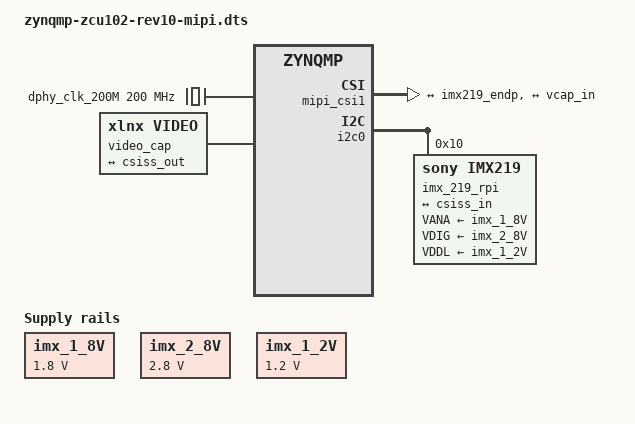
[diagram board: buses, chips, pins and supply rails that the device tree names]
// SPDX-License-Identifier: GPL-2.0
/*
 * Analog Devices GMSL_MIPI
 *
 * hdl_project: <gmsl_mipi/zcu102>
 * board_revision: <>
 *
 * Copyright (C) 2023 Analog Devices Inc.
 */
#include "zynqmp-zcu102-rev1.0.dts"
#include <dt-bindings/interrupt-controller/irq.h>
#include <dt-bindings/gpio/gpio.h>

/ {
	dphy_clk_200M: dphy_clk_200M {
		compatible = "fixed-clock";
		#clock-cells = <0>;
		clock-frequency = <200000000>;
	};


	imx_1_8V: regulator-vref {
		compatible = "regulator-fixed";
		regulator-name = "fixed-supply";
		regulator-min-microvolt = <1800000>;
		regulator-max-microvolt = <1800000>;
		regulator-always-on;
	};

	imx_2_8V: regulator-vref {
		compatible = "regulator-fixed";
		regulator-name = "fixed-supply";
		regulator-min-microvolt = <2800000>;
		regulator-max-microvolt = <2800000>;
		regulator-always-on;
	};

	imx_1_2V: regulator-vref {
		compatible = "regulator-fixed";
		regulator-name = "fixed-supply";
		regulator-min-microvolt = <1200000>;
		regulator-max-microvolt = <1200000>;
		regulator-always-on;
	};

	fpga_axi  {
		interrupt-parent = <&gic>;
		compatible = "simple-bus";
		#address-cells = <0x1>;
		#size-cells = <0x1>;
		ranges = <0 0 0 0xffffffff>;

		axi_sysid_0: axi-sysid-0@85000000 {
			compatible = "adi,axi-sysid-1.00a";
			reg = <0x85000000 0x2000>;
		};

		mipi_csi1: csi@84A00000 {
			compatible = "xlnx,mipi-csi2-rx-subsystem-5.0";
			reg = <0x84A00000 0x2000>;
			interrupts = <0 109 IRQ_TYPE_LEVEL_HIGH>;
			xlnx,csi-pxl-format = <0x2A>;//RAW8 data format
			xlnx,vfb;
			clocks = <&zynqmp_clk 71>, <&zynqmp_clk 71>, <&dphy_clk_200M>;
			clock-names = "lite_aclk", "video_aclk", "dphy_clk_200M";

			ports {
				#address-cells = <1>;
				#size-cells = <0>;

				port@0 {
					reg = <0>;

					csiss_in: endpoint {
						data-lanes = <1 2>;
						remote-endpoint = <&imx219_endp>;
					};
				};

				port@1 {
					reg = <1>;
					
					csiss_out: endpoint {
						remote-endpoint = <&vcap_in>;
					};
				};
			};
		};

		axi_vdma: axi_vdma@84A20000 {
			compatible = "xlnx,axi-vdma-1.00.a";
			#address-cells = <1>;
			#size-cells = <1>;
			#dma-cells = <1>;
			reg = <0x84A20000 0x10000>;
			dma-ranges = <0x00000000 0x84A20000 0x40000000>;
			//dma-ranges = <0x84A20000 0x84B14241 0x000F4240>;
			xlnx,num-fstores = <0x3>;
			xlnx,flush-fsync = <0x3>;
			xlnx,addrwidth = <0x20>;
			clocks = <&zynqmp_clk 71>, <&zynqmp_clk 71>, <&zynqmp_clk 71>, <&zynqmp_clk 71>, <&zynqmp_clk 71>;
			clock-names = "s_axi_lite_aclk","m_axi_s2mm_aclk", "m_axi_mm2s_aclk", "s_axis_s2mm_aclk", "m_axis_mm2s_aclk";
//			clocks = <&zynqmp_clk 71>, <&zynqmp_clk 71>, <&zynqmp_clk 71>;
//			clock-names = "s_axi_lite_aclk", "m_axi_s2mm_aclk", "s_axis_s2mm_aclk";
			mipi_vdma: dma-channel@84A20000 {
				compatible = "xlnx,axi-vdma-s2mm-channel";
				interrupts = <0 107 IRQ_TYPE_LEVEL_HIGH>;
				xlnx,datawidth = <0xF>;
			};

			vdma_dp: dma-channel@84A20030 {
				compatible = "xlnx,axi-vdma-mm2s-channel";
				interrupts = <0 106 IRQ_TYPE_LEVEL_HIGH>;
				xlnx,datawidth = <0xF>;
			};
		};
	};
};

&amba {
	video_cap {
		compatible = "xlnx,video";
		dmas = <&axi_vdma 1>;//, <&axi_vdma 0>;//vdma endpoint | channel ID (0-write,1-read)
		dma-names = "port0";
		//dma-names = "port0","port1";

		ports {
			#address-cells = <1>;
			#size-cells = <0>;
			port@0 {
				reg = <0>;
				direction = "input";
				vcap_in: endpoint {
					remote-endpoint = <&csiss_out>;
				};
			};
		//	port@1 {
	//			reg = <1>;
	//			direction = "output";
	//			vcap_out: endpoint {
	//				remote-endpoint = <&video_out>;
	//			};
	//		};
		};
	};
};

&zynqmp_dpsub {

	clocks = <&zynqmp_clk 71>;
	clock-names = "dp_live_video_in_clk";
//
//	ports {
//		#address-cells = <1>;
//		#size-cells = <0>;
//
//		port@0 {
//			reg = <0>;
//			video_out: endpoint {
//				remote-endpoint = <&vcap_out>;
//			};
//	};
//	};
}; 

&i2c0 {
	i2c-mux@75 {
		i2c@1 {
			imx_219_rpi: camera@10 {
				compatible = "sony,imx219";
				reg = <0x10>;
				#address-cells = <1>;
				#size-cells = <0>;
				clocks = <&imx_clk_24M>;
				clock-names = "xclk";
				VANA-supply = <&imx_1_8V>;
				VDIG-supply = <&imx_2_8V>;
				VDDL-supply = <&imx_1_2V>;

				imx_clk_24M: imx_clk_24M {
					compatible = "fixed-clock";
					#clock-cells = <0>;
					clock-frequency = <24000000>;
				};
	
				port {
					imx219_endp: endpoint {
					remote-endpoint = <&csiss_in>;
					clock-lanes = <0>;
					data-lanes = <1 2>;
					link-frequencies = /bits/ 64 <456000000>;
					};
				};
			};
		};
	};
};
